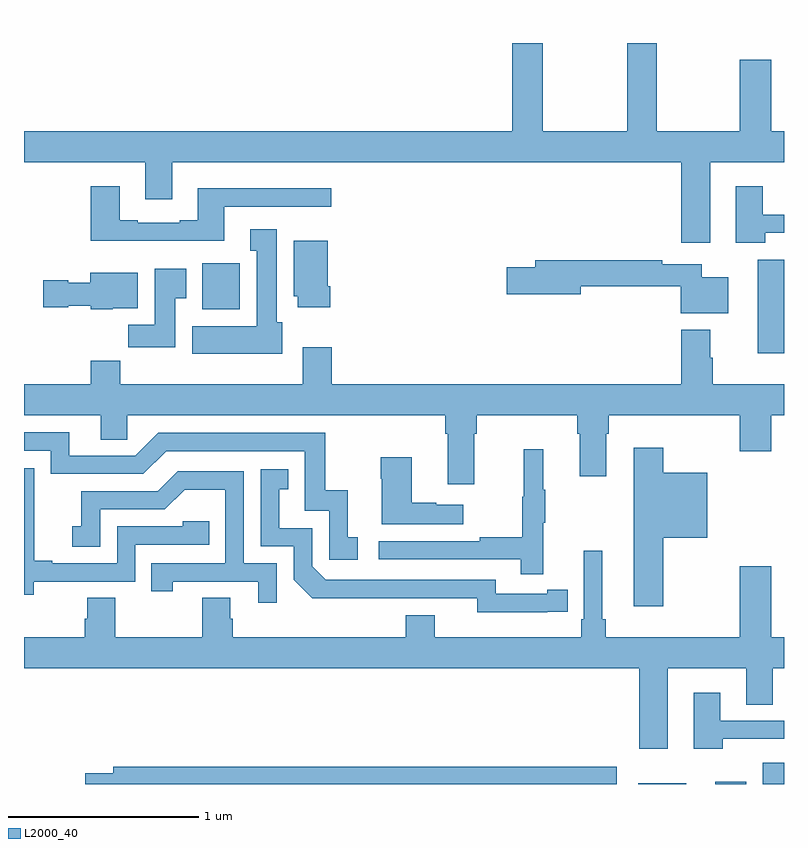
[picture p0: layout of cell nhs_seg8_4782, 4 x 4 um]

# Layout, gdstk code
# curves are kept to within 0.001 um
import gdstk
lib = gdstk.Library(unit=1e-6, precision=1e-09)
def R(c, l, rs):  # rectangles x0, y0, x1, y1
    for r in rs: c.add(gdstk.rectangle(r[:2], r[2:], *l))
def P(c, l, *ps):  # polygons
    for p in ps: c.add(gdstk.Polygon(p, *l))
L2000_40 = (2000, 40)

nhs_seg8_4782 = lib.new_cell('nhs_seg8_4782')
R(nhs_seg8_4782, L2000_40, [(404.234,1107.9,404.485,1107.904), (404.639,1107.9,404.8,1107.913), (404.888,1107.9,405,1108.012), (404.861,1110.168,405,1110.658), (401.939,1110.398,402.136,1110.64), (403.778,1111.898,404.128,1111.9)])
P(nhs_seg8_4782, L2000_40, [(404.611,1111.172),(405,1111.172),(405,1111.336),(404.932,1111.336),(404.932,1111.711),(404.768,1111.711),(404.768,1111.336),(404.331,1111.336),(404.331,1111.798),(404.176,1111.798),(404.176,1111.336),(403.731,1111.336),(403.731,1111.798),(403.571,1111.798),(403.571,1111.336),(401,1111.336),(401,1111.172),(401.639,1111.172),(401.639,1110.978),(401.779,1110.978),(401.779,1111.172),(404.459,1111.172),(404.459,1110.75),(404.611,1110.75)],
  [(404.9,1110.801),(405,1110.801),(405,1110.897),(404.887,1110.897),(404.887,1111.045),(404.747,1111.045),(404.747,1110.75),(404.9,1110.75)],
  [(402.055,1110.939),(402.616,1110.939),(402.616,1111.036),(401.915,1111.036),(401.915,1110.868),(401.819,1110.868),(401.819,1110.855),(401.599,1110.855),(401.599,1110.868),(401.503,1110.868),(401.503,1111.045),(401.351,1111.045),(401.351,1110.758),(402.055,1110.758)],
  [(402.358,1110.33),(402.331,1110.33),(402.331,1110.82),(402.191,1110.82),(402.191,1110.707),(402.224,1110.707),(402.224,1110.31),(401.885,1110.31),(401.885,1110.164),(402.358,1110.164)],
  [(402.611,1110.52),(402.598,1110.52),(402.598,1110.76),(402.419,1110.76),(402.419,1110.468),(402.44,1110.468),(402.44,1110.408),(402.611,1110.408)],
  [(404.707,1110.568),(404.566,1110.568),(404.566,1110.636),(404.36,1110.636),(404.36,1110.656),(403.691,1110.656),(403.691,1110.62),(403.542,1110.62),(403.542,1110.478),(403.93,1110.478),(403.93,1110.52),(404.456,1110.52),(404.456,1110.377),(404.707,1110.377)],
  [(401.797,1110.457),(401.854,1110.457),(401.854,1110.613),(401.687,1110.613),(401.687,1110.316),(401.548,1110.316),(401.548,1110.198),(401.797,1110.198)],
  [(401.466,1110.404),(401.599,1110.404),(401.599,1110.592),(401.348,1110.592),(401.348,1110.538),(401.232,1110.538),(401.232,1110.551),(401.1,1110.551),(401.1,1110.409),(401.232,1110.409),(401.232,1110.416),(401.352,1110.416),(401.352,1110.398),(401.466,1110.398)],
  [(403.369,1109.744),(403.382,1109.744),(403.382,1109.84),(403.913,1109.84),(403.913,1109.744),(403.925,1109.744),(403.925,1109.52),(404.065,1109.52),(404.065,1109.744),(404.078,1109.744),(404.078,1109.84),(404.768,1109.84),(404.768,1109.652),(404.932,1109.652),(404.932,1109.84),(405,1109.84),(405,1110.004),(404.624,1110.004),(404.624,1110.143),(404.611,1110.143),(404.611,1110.292),(404.459,1110.292),(404.459,1110.004),(402.62,1110.004),(402.62,1110.199),(402.467,1110.199),(402.467,1110.004),(401.507,1110.004),(401.507,1110.128),(401.351,1110.128),(401.351,1110.004),(401,1110.004),(401,1109.84),(401.405,1109.84),(401.405,1109.713),(401.544,1109.713),(401.544,1109.84),(403.217,1109.84),(403.217,1109.744),(403.229,1109.744),(403.229,1109.478),(403.369,1109.478)],
  [(402.757,1109.199),(402.704,1109.199),(402.704,1109.446),(402.586,1109.446),(402.586,1109.748),(401.706,1109.748),(401.586,1109.628),(401.239,1109.628),(401.239,1109.751),(401,1109.751),(401,1109.655),(401.142,1109.655),(401.142,1109.532),(401.628,1109.532),(401.748,1109.652),(402.477,1109.652),(402.477,1109.337),(402.606,1109.337),(402.606,1109.079),(402.757,1109.079)],
  [(404.364,1109.195),(404.596,1109.195),(404.596,1109.539),(404.364,1109.539),(404.364,1109.671),(404.21,1109.671),(404.21,1108.836),(404.364,1108.836)],
  [(403.733,1109.275),(403.744,1109.275),(403.744,1109.449),(403.733,1109.449),(403.733,1109.662),(403.63,1109.662),(403.63,1109.412),(403.623,1109.412),(403.623,1109.198),(403.399,1109.198),(403.399,1109.178),(402.867,1109.178),(402.867,1109.082),(403.615,1109.082),(403.615,1109.004),(403.733,1109.004)],
  [(403.312,1109.371),(403.169,1109.371),(403.169,1109.381),(403.042,1109.381),(403.042,1109.62),(402.877,1109.62),(402.877,1109.507),(402.884,1109.507),(402.884,1109.267),(403.312,1109.267)],
  [(401.052,1108.965),(401.586,1108.965),(401.586,1109.16),(401.975,1109.16),(401.975,1109.283),(401.835,1109.283),(401.835,1109.256),(401.49,1109.256),(401.49,1109.061),(401.149,1109.061),(401.149,1109.074),(401.054,1109.074),(401.054,1109.357),(401.055,1109.357),(401.055,1109.563),(401,1109.563),(401,1108.897),(401.052,1108.897)],
  [(403.754,1108.806),(403.862,1108.806),(403.862,1108.922),(403.754,1108.922),(403.754,1108.902),(403.482,1108.902),(403.482,1108.974),(402.588,1108.974),(402.516,1109.046),(402.516,1109.247),(402.343,1109.247),(402.343,1109.451),(402.392,1109.451),(402.392,1109.557),(402.246,1109.557),(402.246,1109.151),(402.42,1109.151),(402.42,1108.974),(402.518,1108.877),(403.386,1108.878),(403.386,1108.805)],
  [(402.33,1109.061),(402.156,1109.061),(402.156,1109.547),(401.81,1109.547),(401.705,1109.442),(401.302,1109.442),(401.302,1109.257),(401.253,1109.257),(401.253,1109.148),(401.4,1109.148),(401.4,1109.346),(401.742,1109.346),(401.846,1109.45),(402.06,1109.45),(402.06,1109.061),(401.671,1109.061),(401.671,1108.914),(401.782,1108.914),(401.782,1108.965),(402.233,1108.965),(402.233,1108.854),(402.33,1108.854)],
  [(404.389,1108.508),(404.801,1108.508),(404.801,1108.318),(404.941,1108.318),(404.941,1108.508),(405,1108.508),(405,1108.672),(404.932,1108.672),(404.932,1109.047),(404.768,1109.047),(404.768,1108.672),(404.063,1108.672),(404.063,1108.768),(404.044,1108.768),(404.044,1109.128),(403.947,1109.128),(403.947,1108.768),(403.934,1108.768),(403.934,1108.672),(403.162,1108.672),(403.162,1108.789),(403.01,1108.789),(403.01,1108.672),(402.098,1108.672),(402.098,1108.77),(402.085,1108.77),(402.085,1108.88),(401.938,1108.88),(401.938,1108.672),(401.481,1108.672),(401.481,1108.88),(401.333,1108.88),(401.333,1108.77),(401.321,1108.77),(401.321,1108.672),(401,1108.672),(401,1108.508),(404.237,1108.508),(404.237,1108.086),(404.389,1108.086)],
  [(404.678,1108.137),(405,1108.137),(405,1108.233),(404.665,1108.233),(404.665,1108.381),(404.525,1108.381),(404.525,1108.086),(404.678,1108.086)],
  [(404.121,1107.992),(401.471,1107.992),(401.471,1107.956),(401.322,1107.956),(401.322,1107.9),(404.121,1107.9)])

lib.write_gds('nhs_seg8_4782.gds')
